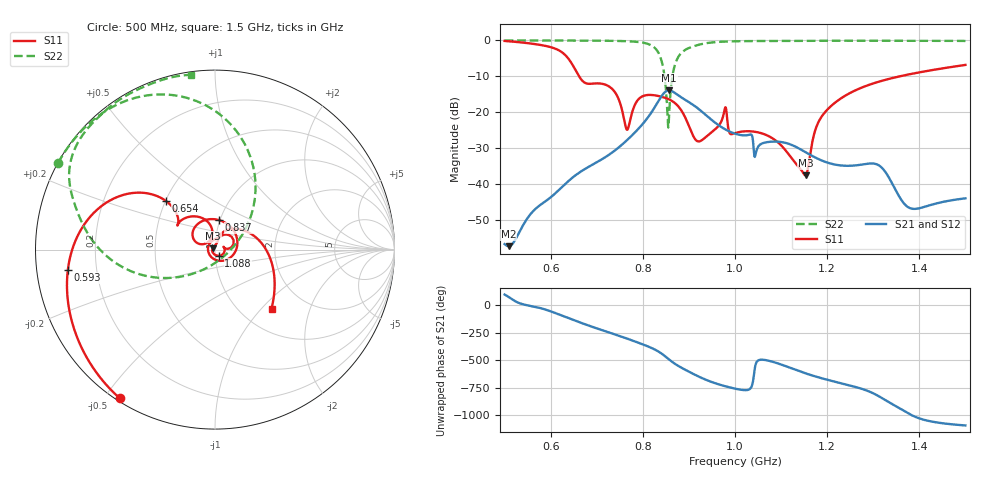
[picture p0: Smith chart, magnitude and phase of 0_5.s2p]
! TOUCHSTONE file generated by CST MICROWAVE STUDIO
! Date and time: Sat Oct 24 11:11:47 2020
! Project name: Scenario_1_Circular_Tissue_in_Line.cst
! Parameters = {L_HA=400; MT=2.54; Rad_Dielectric=30; Rad_Lower=7.3; Rad_Upper=30; a_HA=580; a_WG=246; b_HA=500; b_WG=121; c_HA=0; c_WG=187; d_feed=85; dx1=242.28; h_feed=15; h_lower=18; h_upper=40}
! Header version: 2018
! Port assignment regex: !\s*Touchstone port\s*([0-9]+)\s*=\s*(CST MWS port|CST DS port)\s*([0-9]+|Zmin|Zmax)\s*\(\"(.*)\"\)(\s*mode\s*([0-9]+))?.*
! Touchstone port assignment:
! Touchstone port 1 = CST MWS port 1 ("")
! Touchstone port 2 = CST MWS port 2 ("")
# GHz S DB R 50
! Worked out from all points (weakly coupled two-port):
!   1003 points, 500 MHz to 1.5 GHz, reference 50 ohm
!   highest |S21| = -13.93 dB at 857 MHz (marker M1); lowest = -57.4 dB at 509 MHz (marker M2)
!   lowest |S11| = -37.6 dB at 1.153 GHz (marker M3), VSWR 1.03, Z = 49 + j0.814 ohm
!   |S11| at or under -10 dB: 661.5 MHz to 1.358 GHz (696.5 MHz wide, 69 % of centre)
!   |S22| runs from -24.3 to 0.0 dB; largest |S21 - S12| = 0.00038
!   S11 on the Smith chart (normalised r, x): 500 MHz: 0.01, -0.55; 593 MHz: 0.09, -0.07; 654 MHz: 0.50, +0.32; 837 MHz: 0.99, +0.33; 1.088 GHz: 1.04, -0.07; 1.5 GHz: 1.37, -1.14
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0.5  -0.14 -122.7  -56.82 98.0  -56.82 98.0  -0.01 151.1
0.509  -0.24 -126.4  -57.40 74.7  -57.40 74.7  -0.01 150.5
0.593  -1.64 -172.1  -44.46 -44.4  -44.46 -44.4  -0.02 144.7
0.654  -8.31 135.2  -37.61 -140.9  -37.61 -140.9  -0.03 139.6
0.667  -11.00 138.1  -36.45 -161.1  -36.45 -161.1  -0.04 138.4
0.734  -13.60 118.3  -31.21 102.8  -31.21 102.8  -0.11 130.2
0.766  -24.94 131.4  -27.77 56.9  -27.77 56.9  -0.22 124.0
0.834  -15.51 86.9  -16.89 -60.7  -16.89 -60.7  -3.49 79.6
0.837  -15.60 82.5  -16.27 -68.7  -16.27 -68.7  -4.33 74.0
0.857  -16.46 49.0  -13.93 -133.3  -13.93 -133.3  -20.77 -104.0
0.867  -17.21 27.9  -14.43 -164.7  -14.43 -164.7  -8.10 -157.5
0.884  -19.63 -17.3  -15.93 151.9  -15.93 151.9  -3.43 176.8
0.919  -28.13 -162.7  -18.91 76.4  -18.91 76.4  -1.28 158.2
0.977  -19.57 53.1  -24.68 -13.9  -24.68 -13.9  -0.32 143.8
1  -25.88 17.7  -26.01 -37.8  -26.01 -37.8  -0.23 140.2
1.088  -27.90 -59.3  -28.22 -161.5  -28.22 -161.5  -0.15 130.7
1.153  -37.63 140.8  -31.17 101.5  -31.17 101.5  -0.10 125.3
1.167  -28.83 75.5  -32.18 82.6  -32.18 82.6  -0.09 124.2
1.212  -17.90 58.5  -34.49 30.1  -34.49 30.1  -0.08 120.7
1.334  -10.74 -2.1  -38.26 -161.1  -38.26 -161.1  -0.09 111.5
1.382  -9.35 -18.1  -46.88 83.7  -46.88 83.7  -0.08 107.8
1.5  -6.83 -46.2  -44.05 -12.7  -44.05 -12.7  -0.15 97.9
